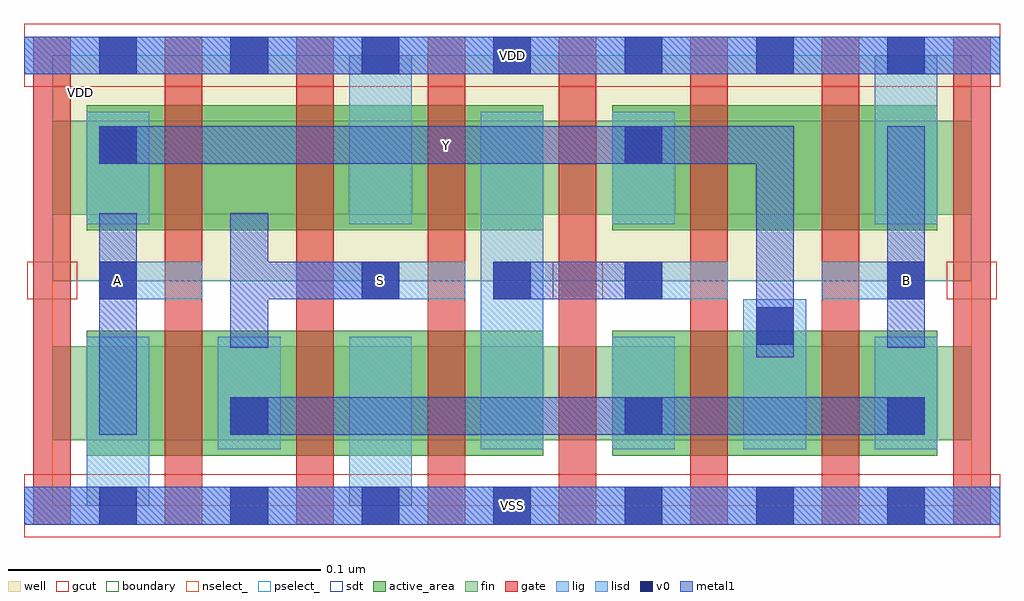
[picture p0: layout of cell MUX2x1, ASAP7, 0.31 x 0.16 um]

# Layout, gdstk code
import gdstk
lib = gdstk.Library(unit=1e-6, precision=2.5e-10)
def R(c, l, rs):  # rectangles x0, y0, x1, y1
    for r in rs: c.add(gdstk.rectangle(r[:2], r[2:], *l))
def A(c, l, x, y, w, h, nx, ny, dx, dy):  # array of equal rectangles
    R(c, l, [(x+i*dx, y+j*dy, x+i*dx+w, y+j*dy+h) for i in range(nx) for j in range(ny)])
def P(c, l, *ps):  # polygons
    for p in ps: c.add(gdstk.Polygon(p, *l))
well = (1, 0)
fin = (2, 0)
gate = (7, 0)
gcut = (10, 0)
active_area = (11, 0)
nselect_ = (12, 0)
pselect_ = (13, 0)
lig = (16, 0)
lisd = (17, 0)
v0 = (18, 0)
metal1 = (19, 0)
sdt = (88, 0)
boundary = (100, 0)

mux2x1 = lib.new_cell('MUX2x1')
R(mux2x1, well, [(0,0.072,0.294,0.144)])
R(mux2x1, fin, [(0,0.021,0.294,0.051), (0,0.093,0.294,0.123)])
A(mux2x1, gate, -0.006, -0.006, 0.012, 0.156, 8, 1, 0.042, 0)
R(mux2x1, gcut, [(-0.009,-0.01,0.303,0.01), (-0.008,0.066,0.008,0.078), (0.16,0.066,0.176,0.078), (0.286,0.066,0.302,0.078), (-0.009,0.134,0.303,0.154)])
R(mux2x1, active_area, [(0.011,0.016,0.157,0.056), (0.179,0.016,0.283,0.056), (0.011,0.088,0.157,0.128), (0.179,0.088,0.283,0.128)])
R(mux2x1, nselect_, [(0,0,0.294,0.072)])
R(mux2x1, pselect_, [(0,0.072,0.294,0.144)])
R(mux2x1, lig, [(-0.009,-0.006,0.303,0.006), (0.015,0.066,0.048,0.078), (0.078,0.066,0.132,0.078), (0.183,0.066,0.216,0.078), (0.246,0.066,0.279,0.078), (-0.009,0.138,0.303,0.15)])
R(mux2x1, lisd, [(0.011,0,0.031,0.054), (0.095,0,0.115,0.054), (0.053,0.018,0.073,0.054), (0.137,0.018,0.157,0.126), (0.179,0.018,0.199,0.054), (0.221,0.018,0.241,0.066), (0.263,0.018,0.283,0.054), (0.011,0.09,0.031,0.126), (0.095,0.09,0.115,0.144), (0.179,0.09,0.199,0.126), (0.263,0.09,0.283,0.144)])
A(mux2x1, v0, 0.015, -0.006, 0.012, 0.012, 7, 2, 0.042, 0.144)
A(mux2x1, v0, 0.099, 0.066, 0.012, 0.012, 3, 1, 0.042, 0)
R(mux2x1, v0, [(0.057,0.0227,0.069,0.0348), (0.183,0.0227,0.195,0.0348), (0.267,0.0227,0.279,0.0348), (0.225,0.0515,0.237,0.0635), (0.015,0.066,0.027,0.078), (0.267,0.066,0.279,0.078), (0.015,0.1092,0.027,0.1212), (0.183,0.1092,0.195,0.1212)])
R(mux2x1, metal1, [(-0.009,-0.006,0.303,0.006), (0.015,0.0227,0.027,0.0935), (0.057,0.0227,0.279,0.0348), (0.267,0.0505,0.279,0.1212), (0.141,0.066,0.195,0.078), (-0.009,0.138,0.303,0.15)])
P(mux2x1, metal1, [(0.015,0.1212),(0.015,0.1092),(0.225,0.1092),(0.225,0.0475),(0.237,0.0475),(0.237,0.1212)],
  [(0.069,0.066),(0.111,0.066),(0.111,0.078),(0.069,0.078),(0.069,0.0935),(0.057,0.0935),(0.057,0.0505),(0.069,0.0505)])
A(mux2x1, sdt, 0.011, 0.021, 0.02, 0.03, 7, 1, 0.042, 0)
A(mux2x1, sdt, 0.095, 0.093, 0.02, 0.03, 3, 1, 0.042, 0)
R(mux2x1, sdt, [(0.011,0.093,0.031,0.123), (0.263,0.093,0.283,0.123)])
R(mux2x1, boundary, [(0,0,0.294,0.144)])
mux2x1.add(gdstk.Label('VDD', (0.009,0.132), layer=1, texttype=251))
mux2x1.add(gdstk.Label('VSS', (0.324,0.0505), layer=3, texttype=251))
mux2x1.add(gdstk.Label('S', (0.105,0.072), layer=19, texttype=251))
mux2x1.add(gdstk.Label('B', (0.273,0.072), layer=19, texttype=251))
mux2x1.add(gdstk.Label('Y', (0.126,0.1153), layer=19, texttype=251))
mux2x1.add(gdstk.Label('A', (0.021,0.072), layer=19, texttype=251))
mux2x1.add(gdstk.Label('VSS', (0.147,0), layer=19, texttype=251))
mux2x1.add(gdstk.Label('VDD', (0.147,0.144), layer=19, texttype=251))

lib.write_gds('MUX2x1.gds')
